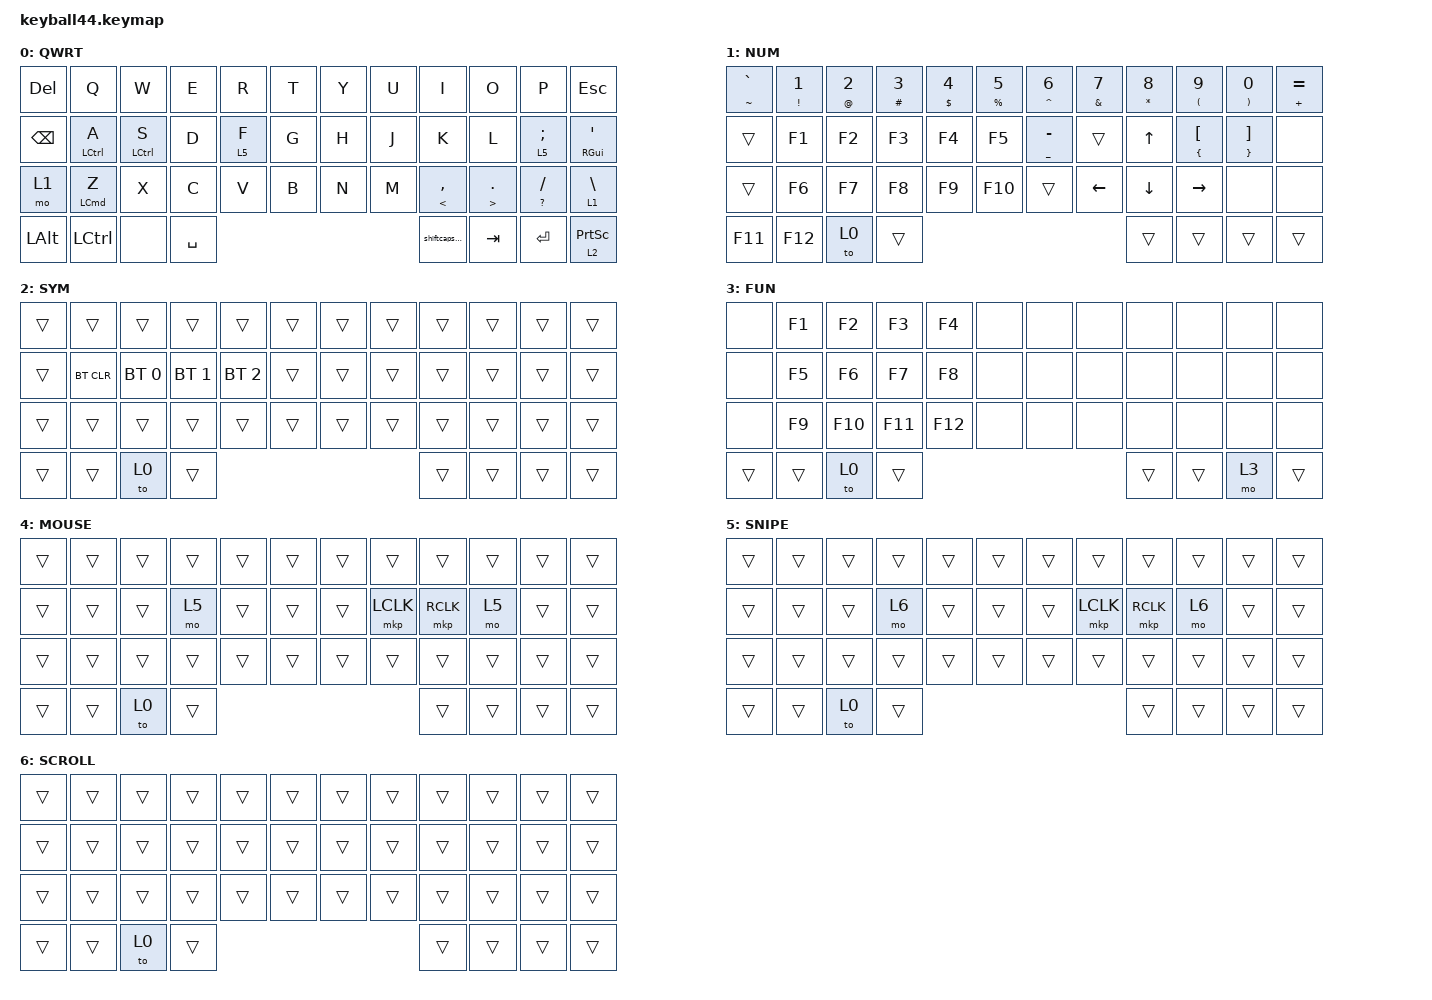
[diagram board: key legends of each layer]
#define DEFAULT 0
#define NUM     1
#define SYM     2
#define FUN     3
#define MOUSE   4
#define SNIPE   5
#define SCROLL  6

#include <behaviors/mouse_keys.dtsi>
#include <dt-bindings/zmk/mouse.h>
#include <behaviors.dtsi>
#include <dt-bindings/zmk/bt.h>
#include <dt-bindings/zmk/keys.h>
#include <dt-bindings/zmk/pointing.h>

&lt {
    tapping-term-ms = <240>;
    flavor = "balanced";
    quick-tap-ms = <150>;
};

&mt {
    tapping-term-ms = <200>;
    flavor = "tap-preferred";
    quick-tap-ms = <150>;
};

&caps_word { continue-list = <UNDERSCORE MINUS>; };

/ {
    // custom shift using mod-morph 

    behaviors {
        cmqus: comma_question {
            compatible = "zmk,behavior-mod-morph";
            label = "COMMA_QUESTION";
            #binding-cells = <0>;
            bindings = <&kp COMMA>, <&kp QUESTION>;

            mods = <(MOD_LSFT|MOD_RSFT)>;
        };

        dtsmi: dot_semi {
            compatible = "zmk,behavior-mod-morph";
            label = "DOT_SEMI";
            #binding-cells = <0>;
            bindings = <&kp DOT>, <&kp SEMI>;

            mods = <(MOD_LSFT|MOD_RSFT)>;
        };

        hold_tap_preferred: hold_tap_preferred {
            compatible = "zmk,behavior-hold-tap";
            label = "HOLD_TAP_PREFERRED";
            bindings = <&kp>, <&kp>;

            #binding-cells = <2>;
            tapping-term-ms = <165>;
            quick-tap-ms = <(-1)>;
            flavor = "tap-preferred";
        };

        shiftcapsword: shiftcapsword {
            compatible = "zmk,behavior-tap-dance";
            label = "SHIFTCAPSWORD";
            #binding-cells = <0>;
            bindings = <&kp LEFT_SHIFT>, <&caps_word>;
        };

        left_hmr: left_hmr {
            compatible = "zmk,behavior-hold-tap";
            label = "LEFT_HMR";
            bindings = <&kp>, <&kp>;

            #binding-cells = <2>;
            flavor = "balanced";
            tapping-term-ms = <280>;
            quick-tap-ms = <175>;
            require-prior-idle-ms = <150>;
            hold-trigger-on-release;
            hold-trigger-key-positions = <6 7 8 9 10 11 18 19 20 21 22 23 30 31 32 33 34 35 41 42 43>;
        };

        right_hmr: right_hmr {
            compatible = "zmk,behavior-hold-tap";
            label = "RIGHT_HMR";
            bindings = <&kp>, <&kp>;

            #binding-cells = <2>;
            flavor = "balanced";
            tapping-term-ms = <280>;
            quick-tap-ms = <175>;
            require-prior-idle-ms = <150>;
            hold-trigger-on-release;
            hold-trigger-key-positions = <0 1 2 3 4 5 12 13 14 15 16 17 24 25 26 27 28 29 36 37 38 39 40>;
        };
    };

    keymap {
        compatible = "zmk,keymap";

        default_layer {
            label = "QWRT";
            bindings = <
&kp DEL        &kp Q                     &kp W              &kp E      &kp R           &kp T               &kp Y      &kp U  &kp I                                &kp O                                    &kp P                               &kp ESCAPE
&kp BACKSPACE  &left_hmr LCTRL A         &left_hmr LCTRL S  &kp D      &lt 5 F         &kp G               &kp H      &kp J  &kp K                                &kp L                                    &lt 5 SEMI                          &right_hmr RIGHT_GUI SQT
&mo 1          &left_hmr LEFT_COMMAND Z  &kp X              &kp C      &kp V           &kp B               &kp N      &kp M  &hold_tap_preferred LESS_THAN COMMA  &hold_tap_preferred GREATER_THAN PERIOD  &hold_tap_preferred QUESTION SLASH  &lt 1 BACKSLASH
&kp LEFT_ALT   &kp LCTRL                 &none              &kp SPACE  &shiftcapsword             &kp TAB  &kp ENTER                                                                                                                           &lt 2 PRINTSCREEN
            >;
        };

        number_layer {
            label = "NUM";
            bindings = <
&hold_tap_preferred TILDE GRAVE  &hold_tap_preferred EXCL N1  &hold_tap_preferred AT_SIGN N2  &hold_tap_preferred HASH N3  &hold_tap_preferred DOLLAR N4  &hold_tap_preferred PERCENT N5              &hold_tap_preferred CARET N6          &hold_tap_preferred AMPERSAND N7  &hold_tap_preferred ASTRK N8  &hold_tap_preferred LEFT_PARENTHESIS N9      &hold_tap_preferred RIGHT_PARENTHESIS N0       &hold_tap_preferred PLUS EQUAL
&trans                           &kp F1                       &kp F2                          &kp F3                       &kp F4                         &kp F5                                      &hold_tap_preferred UNDERSCORE MINUS  &trans                            &kp UP_ARROW                  &hold_tap_preferred LEFT_BRACE LEFT_BRACKET  &hold_tap_preferred RIGHT_BRACE RIGHT_BRACKET  &none
&trans                           &kp F6                       &kp F7                          &kp F8                       &kp F9                         &kp F10                                     &trans                                &kp LEFT                          &kp DOWN                      &kp RIGHT                                    &none                                          &none
&kp F11                          &kp F12                      &to 0                           &trans                       &trans                                                             &trans  &trans                                                                                                                                                                                            &trans
            >;
        };

        bt_layer {
            label = "SYM";
            bindings = <
&trans  &trans      &trans        &trans        &trans        &trans              &trans  &trans  &trans  &trans  &trans  &trans
&trans  &bt BT_CLR  &bt BT_SEL 0  &bt BT_SEL 1  &bt BT_SEL 2  &trans              &trans  &trans  &trans  &trans  &trans  &trans
&trans  &trans      &trans        &trans        &trans        &trans              &trans  &trans  &trans  &trans  &trans  &trans
&trans  &trans      &to 0         &trans        &trans                    &trans  &trans                                  &trans
            >;
        };

        function_layer {
            label = "FUN";
            bindings = <
&none   &kp F1  &kp F2   &kp F3   &kp F4   &none              &none  &none  &none  &none  &none  &none
&none   &kp F5  &kp F6   &kp F7   &kp F8   &none              &none  &none  &none  &none  &none  &none
&none   &kp F9  &kp F10  &kp F11  &kp F12  &none              &none  &none  &none  &none  &none  &none
&trans  &trans  &to 0    &trans   &trans              &trans  &mo 3                              &trans
            >;
        };

        mouse_layer {
            label = "MOUSE";
            bindings = <
&trans  &trans  &trans  &trans  &trans  &trans              &trans  &trans     &trans     &trans  &trans  &trans
&trans  &trans  &trans  &mo 5   &trans  &trans              &trans  &mkp LCLK  &mkp RCLK  &mo 5   &trans  &trans
&trans  &trans  &trans  &trans  &trans  &trans              &trans  &trans     &trans     &trans  &trans  &trans
&trans  &trans  &to 0   &trans  &trans              &trans  &trans                                        &trans
            >;
        };

        snipe_layer {
            label = "SNIPE";
            bindings = <
&trans  &trans  &trans  &trans  &trans  &trans              &trans  &trans     &trans     &trans  &trans  &trans
&trans  &trans  &trans  &mo 6   &trans  &trans              &trans  &mkp LCLK  &mkp RCLK  &mo 6   &trans  &trans
&trans  &trans  &trans  &trans  &trans  &trans              &trans  &trans     &trans     &trans  &trans  &trans
&trans  &trans  &to 0   &trans  &trans              &trans  &trans                                        &trans
            >;
        };

        scroll_layer {
            label = "SCROLL";
            bindings = <
&trans  &trans  &trans  &trans  &trans  &trans              &trans  &trans  &trans  &trans  &trans  &trans
&trans  &trans  &trans  &trans  &trans  &trans              &trans  &trans  &trans  &trans  &trans  &trans
&trans  &trans  &trans  &trans  &trans  &trans              &trans  &trans  &trans  &trans  &trans  &trans
&trans  &trans  &to 0   &trans  &trans              &trans  &trans                                  &trans
            >;
        };
    };
};
